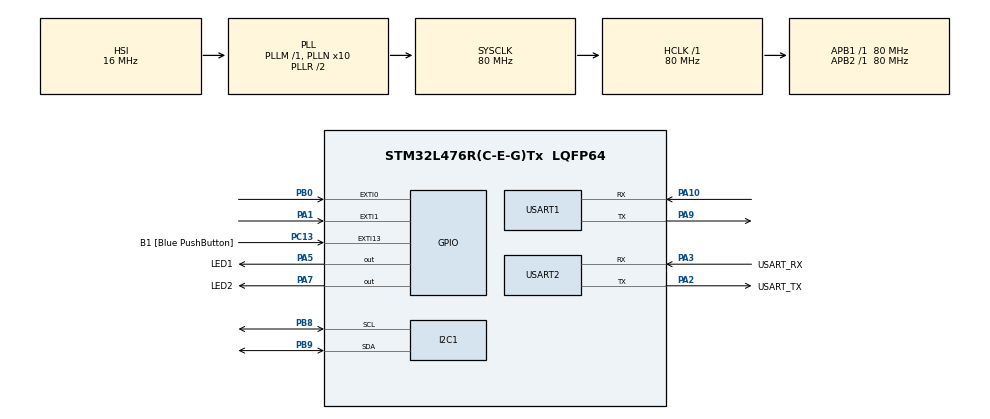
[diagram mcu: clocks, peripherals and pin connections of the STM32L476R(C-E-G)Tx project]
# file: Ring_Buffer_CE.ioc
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I2C1.Timing=0x10909CEC
Mcu.Family=STM32L4
Mcu.Name=STM32L476R(C-E-G)Tx
Mcu.Package=LQFP64
NVIC.EXTI0_IRQn=true\:0\:0\:false\:false\:true\:true\:true\:true
NVIC.EXTI1_IRQn=true\:0\:0\:false\:false\:true\:true\:true\:true
NVIC.PriorityGroup=NVIC_PRIORITYGROUP_4
NVIC.USART1_IRQn=true\:0\:0\:false\:false\:true\:true\:true\:true
NVIC.USART2_IRQn=true\:0\:0\:false\:false\:true\:true\:true\:true
PA1.Signal=GPXTI1
PA10.Mode=Asynchronous
PA10.Signal=USART1_RX
PA13\ (JTMS-SWDIO).GPIO_Label=TMS
PA13\ (JTMS-SWDIO).Mode=Serial_Wire
PA13\ (JTMS-SWDIO).Signal=SYS_JTMS-SWDIO
PA14\ (JTCK-SWCLK).GPIO_Label=TCK
PA14\ (JTCK-SWCLK).Mode=Serial_Wire
PA14\ (JTCK-SWCLK).Signal=SYS_JTCK-SWCLK
PA2.GPIO_Label=USART_TX
PA2.GPIO_Mode=GPIO_MODE_AF_PP
PA2.GPIO_PuPd=GPIO_NOPULL
PA2.GPIO_Speed=GPIO_SPEED_FREQ_VERY_HIGH
PA2.Mode=Asynchronous
PA2.Signal=USART2_TX
PA3.GPIO_Label=USART_RX
PA3.GPIO_Mode=GPIO_MODE_AF_PP
PA3.GPIO_PuPd=GPIO_NOPULL
PA3.GPIO_Speed=GPIO_SPEED_FREQ_VERY_HIGH
PA3.Mode=Asynchronous
PA3.Signal=USART2_RX
PA5.GPIO_Label=LED1
PA5.Signal=GPIO_Output
PA7.GPIO_Label=LED2
PA7.Signal=GPIO_Output
PA9.Mode=Asynchronous
PA9.Signal=USART1_TX
PB0.Signal=GPXTI0
PB3\ (JTDO-TRACESWO).GPIO_Label=SWO
PB3\ (JTDO-TRACESWO).Signal=SYS_JTDO-SWO
PB8.Mode=I2C
PB8.Signal=I2C1_SCL
PB9.Mode=I2C
PB9.Signal=I2C1_SDA
PC13.GPIO_Label=B1 [Blue PushButton]
PC13.GPIO_ModeDefaultEXTI=GPIO_MODE_IT_FALLING
PC13.GPIO_PuPd=GPIO_NOPULL
PC13.Signal=GPXTI13
PC14-OSC32_IN\ (PC14).Mode=LSE-External-Oscillator
PC14-OSC32_IN\ (PC14).Signal=RCC_OSC32_IN
PC15-OSC32_OUT\ (PC15).Mode=LSE-External-Oscillator
PC15-OSC32_OUT\ (PC15).Signal=RCC_OSC32_OUT
PH0-OSC_IN\ (PH0).Signal=RCC_OSC_IN
PH1-OSC_OUT\ (PH1).Signal=RCC_OSC_OUT
ProjectManager.HeapSize=0x200
ProjectManager.StackSize=0x400
ProjectManager.TargetToolchain=STM32CubeIDE
RCC.ADCFreq_Value=64000000
RCC.AHBFreq_Value=80000000
RCC.APB1Freq_Value=80000000
RCC.APB1TimFreq_Value=80000000
RCC.APB2Freq_Value=80000000
RCC.APB2TimFreq_Value=80000000
RCC.CortexFreq_Value=80000000
RCC.HCLKFreq_Value=80000000
RCC.HSE_VALUE=8000000
RCC.HSI_VALUE=16000000
RCC.MSI_VALUE=4000000
RCC.PLLN=10
RCC.PLLSourceVirtual=RCC_PLLSOURCE_HSI
RCC.PREFETCH_ENABLE=1
RCC.SYSCLKFreq_VALUE=80000000
RCC.SYSCLKSource=RCC_SYSCLKSOURCE_PLLCLK
RCC.USBFreq_Value=64000000
RCC.VCOOutputFreq_Value=160000000
USART1.VirtualMode-Asynchronous=VM_ASYNC
USART2.VirtualMode-Asynchronous=VM_ASYNC
board=NUCLEO-L476RG

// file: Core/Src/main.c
/* USER CODE BEGIN Header */
/**
  ******************************************************************************
  * @file           : main.c
  * @brief          : Main program body
  ******************************************************************************
  * @attention
  *
  * Copyright (c) 2024 STMicroelectronics.
  * All rights reserved.
  *
  * This software is licensed under terms that can be found in the LICENSE file
  * in the root directory of this software component.
  * If no LICENSE file comes with this software, it is provided AS-IS.
  *
  ******************************************************************************
  */
/* USER CODE END Header */
#include "main.h"

/* USER CODE BEGIN Includes */
#include "ring_buffer.h"
#include "ssd1306.h"
#include "ssd1306_fonts.h"
/* USER CODE END Includes */

I2C_HandleTypeDef hi2c1;
UART_HandleTypeDef huart1;
UART_HandleTypeDef huart2;

/* USER CODE BEGIN PV */
// Variables to setting number of blinks
volatile uint32_t left_toggles = 0;
volatile uint32_t right_toggles = 0;
// Variable to call the function
volatile uint32_t turn_left = 0;
volatile uint32_t turn_right = 0;

uint8_t data;
#define CAPACITY_USART1 10
uint8_t mem_usart1[CAPACITY_USART1];
ring_buffer_t rb_usart1;

#define CAPACITY_USART2 10
uint8_t mem_usart2[CAPACITY_USART2];
ring_buffer_t rb_usart2;

//#define DOC "1080691539" //Variable of the ID
//#define DOC_LEN 10 //Size of ID
//#define NAME "Gabriela Romo" //Variable of name

//char id[DOC_LEN+1]={0};
//uint8_t id_index = 0; //Will contain the content that i write in YAT
/* USER CODE END PV */

void SystemClock_Config(void);
static void MX_GPIO_Init(void);
static void MX_USART2_UART_Init(void);
static void MX_USART1_UART_Init(void);
static void MX_I2C1_Init(void);

/* USER CODE BEGIN 0 */

void HAL_UART_RxCpltCallback(UART_HandleTypeDef *huart)
{
	  if (huart->Instance == USART1) {
		  ring_buffer_write(&rb_usart1, data);
		  HAL_UART_Receive_IT(&huart1, &data, 1);
	  }
	if(huart -> Instance == USART2){
		  ring_buffer_write(&rb_usart2, data); // put the data received in buffer
		  HAL_UART_Receive_IT(&huart2, &data, 1); // enable interrupt to continue receiving
	}

}

/* USER CODE END 0 */

int main(void)
{

  /* MCU Configuration--------------------------------------------------------*/

  /* Reset of all peripherals, Initializes the Flash interface and the Systick. */
  HAL_Init();

  /* Configure the system clock */
  SystemClock_Config();

  /* Initialize all configured peripherals */
  MX_GPIO_Init();
  MX_USART2_UART_Init();
  MX_USART1_UART_Init();
  MX_I2C1_Init();
  /* USER CODE BEGIN 2 */
  /* Initialize ring buffer (control, memory, and capacity) */
  ring_buffer_init(&rb_usart1, mem_usart1, CAPACITY_USART1);
  ring_buffer_init(&rb_usart2, mem_usart2, CAPACITY_USART2);
  ssd1306_Init();
  ssd1306_Fill(Black);
  ssd1306_SetCursor(10,20);
  ssd1306_WriteString("Hi!", Font_6x8, White);
  ssd1306_UpdateScreen();
  /* USER CODE END 2 */

  /* Infinite loop */
  /* USER CODE BEGIN WHILE */
  HAL_UART_Receive_IT(&huart1,&data,1);
  HAL_UART_Receive_IT(&huart2,&data,1);
  while (1)
  {
    /* USER CODE END WHILE */

    /* USER CODE BEGIN 3 */
	//  uint8_t byte=0;
	//  if (ring_buffer_read(&byte) != 0){ //0x20
		 // HAL_UART_Transmit(&huart2,&byte,1,10);

	/*	 TAREA ID+NAME
	    id[id_index++] = byte;
//        For print the name after read the ID
		  if (id_index == DOC_LEN ) {
		      HAL_UART_Transmit(&huart2, (uint8_t*)NAME, strlen(NAME), 100);
		      HAL_UART_Transmit(&huart2, (uint8_t*)"\r\n", 2, 100);
		      ssd1306_WriteString("Gabriela Romo",Font_6x8,White);
		      ssd1306_UpdateScreen();
		      // Reset for next input
		      id_index = 0;
		  }
	  }*/
	  uint8_t byte = 0;
	  if (ring_buffer_read(&rb_usart2, &byte) != 0) {
	  if (ring_buffer_is_full(&rb_usart2) != 0) {
		  uint8_t id_incorrect = 0;
		  char my_id[] = "1080691539";
		  for (uint8_t idx = 0; idx < sizeof(my_id); idx++) {
			  if (ring_buffer_read(&rb_usart2, &byte) != 0) { // 0x20
				  if (byte != my_id[idx]) {
					  id_incorrect = 1;
				  }
			  }
		  }
		  if (id_incorrect == 0) {
		      HAL_UART_Transmit(&huart1, (uint8_t *)"Gabriela Romo\r\n", 15, 100);
		      ssd1306_WriteString("Gabriela Romo", Font_6x8, White);
		      ssd1306_UpdateScreen();
		  } else {
		      HAL_UART_Transmit(&huart1, (uint8_t *)"Error\r\n", 7, 10);
		      ssd1306_WriteString("Error", Font_6x8, White);
		      ssd1306_UpdateScreen();
		  }
	  }
	  }

  }
  /* USER CODE END 3 */
}

void SystemClock_Config(void)
{
  RCC_OscInitTypeDef RCC_OscInitStruct = {0};
  RCC_ClkInitTypeDef RCC_ClkInitStruct = {0};

  /** Configure the main internal regulator output voltage
  */
  if (HAL_PWREx_ControlVoltageScaling(PWR_REGULATOR_VOLTAGE_SCALE1) != HAL_OK)
  {
    Error_Handler();
  }

  /** Initializes the RCC Oscillators according to the specified parameters
  * in the RCC_OscInitTypeDef structure.
  */
  RCC_OscInitStruct.OscillatorType = RCC_OSCILLATORTYPE_HSI;
  RCC_OscInitStruct.HSIState = RCC_HSI_ON;
  RCC_OscInitStruct.HSICalibrationValue = RCC_HSICALIBRATION_DEFAULT;
  RCC_OscInitStruct.PLL.PLLState = RCC_PLL_ON;
  RCC_OscInitStruct.PLL.PLLSource = RCC_PLLSOURCE_HSI;
  RCC_OscInitStruct.PLL.PLLM = 1;
  RCC_OscInitStruct.PLL.PLLN = 10;
  RCC_OscInitStruct.PLL.PLLP = RCC_PLLP_DIV7;
  RCC_OscInitStruct.PLL.PLLQ = RCC_PLLQ_DIV2;
  RCC_OscInitStruct.PLL.PLLR = RCC_PLLR_DIV2;
  if (HAL_RCC_OscConfig(&RCC_OscInitStruct) != HAL_OK)
  {
    Error_Handler();
  }

  /** Initializes the CPU, AHB and APB buses clocks
  */
  RCC_ClkInitStruct.ClockType = RCC_CLOCKTYPE_HCLK|RCC_CLOCKTYPE_SYSCLK
                              |RCC_CLOCKTYPE_PCLK1|RCC_CLOCKTYPE_PCLK2;
  RCC_ClkInitStruct.SYSCLKSource = RCC_SYSCLKSOURCE_PLLCLK;
  RCC_ClkInitStruct.AHBCLKDivider = RCC_SYSCLK_DIV1;
  RCC_ClkInitStruct.APB1CLKDivider = RCC_HCLK_DIV1;
  RCC_ClkInitStruct.APB2CLKDivider = RCC_HCLK_DIV1;

  if (HAL_RCC_ClockConfig(&RCC_ClkInitStruct, FLASH_LATENCY_4) != HAL_OK)
  {
    Error_Handler();
  }
}

static void MX_I2C1_Init(void)
{

  hi2c1.Instance = I2C1;
  hi2c1.Init.Timing = 0x10909CEC;
  hi2c1.Init.OwnAddress1 = 0;
  hi2c1.Init.AddressingMode = I2C_ADDRESSINGMODE_7BIT;
  hi2c1.Init.DualAddressMode = I2C_DUALADDRESS_DISABLE;
  hi2c1.Init.OwnAddress2 = 0;
  hi2c1.Init.OwnAddress2Masks = I2C_OA2_NOMASK;
  hi2c1.Init.GeneralCallMode = I2C_GENERALCALL_DISABLE;
  hi2c1.Init.NoStretchMode = I2C_NOSTRETCH_DISABLE;
  if (HAL_I2C_Init(&hi2c1) != HAL_OK)
  {
    Error_Handler();
  }

  /** Configure Analogue filter
  */
  if (HAL_I2CEx_ConfigAnalogFilter(&hi2c1, I2C_ANALOGFILTER_ENABLE) != HAL_OK)
  {
    Error_Handler();
  }

  /** Configure Digital filter
  */
  if (HAL_I2CEx_ConfigDigitalFilter(&hi2c1, 0) != HAL_OK)
  {
    Error_Handler();
  }

}

static void MX_USART1_UART_Init(void)
{

  huart1.Instance = USART1;
  huart1.Init.BaudRate = 115200;
  huart1.Init.WordLength = UART_WORDLENGTH_8B;
  huart1.Init.StopBits = UART_STOPBITS_1;
  huart1.Init.Parity = UART_PARITY_NONE;
  huart1.Init.Mode = UART_MODE_TX_RX;
  huart1.Init.HwFlowCtl = UART_HWCONTROL_NONE;
  huart1.Init.OverSampling = UART_OVERSAMPLING_16;
  huart1.Init.OneBitSampling = UART_ONE_BIT_SAMPLE_DISABLE;
  huart1.AdvancedInit.AdvFeatureInit = UART_ADVFEATURE_NO_INIT;
  if (HAL_UART_Init(&huart1) != HAL_OK)
  {
    Error_Handler();
  }

}

static void MX_USART2_UART_Init(void)
{

  huart2.Instance = USART2;
  huart2.Init.BaudRate = 115200;
  huart2.Init.WordLength = UART_WORDLENGTH_8B;
  huart2.Init.StopBits = UART_STOPBITS_1;
  huart2.Init.Parity = UART_PARITY_NONE;
  huart2.Init.Mode = UART_MODE_TX_RX;
  huart2.Init.HwFlowCtl = UART_HWCONTROL_NONE;
  huart2.Init.OverSampling = UART_OVERSAMPLING_16;
  huart2.Init.OneBitSampling = UART_ONE_BIT_SAMPLE_DISABLE;
  huart2.AdvancedInit.AdvFeatureInit = UART_ADVFEATURE_NO_INIT;
  if (HAL_UART_Init(&huart2) != HAL_OK)
  {
    Error_Handler();
  }

}

static void MX_GPIO_Init(void)
{
  GPIO_InitTypeDef GPIO_InitStruct = {0};

  /* GPIO Ports Clock Enable */
  __HAL_RCC_GPIOC_CLK_ENABLE();
  __HAL_RCC_GPIOH_CLK_ENABLE();
  __HAL_RCC_GPIOA_CLK_ENABLE();
  __HAL_RCC_GPIOB_CLK_ENABLE();

  /*Configure GPIO pin Output Level */
  HAL_GPIO_WritePin(GPIOA, LED1_Pin|LED2_Pin, GPIO_PIN_RESET);

  /*Configure GPIO pin : B1_Pin */
  GPIO_InitStruct.Pin = B1_Pin;
  GPIO_InitStruct.Mode = GPIO_MODE_IT_FALLING;
  GPIO_InitStruct.Pull = GPIO_NOPULL;
  HAL_GPIO_Init(B1_GPIO_Port, &GPIO_InitStruct);

  /*Configure GPIO pin : PA1 */
  GPIO_InitStruct.Pin = GPIO_PIN_1;
  GPIO_InitStruct.Mode = GPIO_MODE_IT_RISING;
  GPIO_InitStruct.Pull = GPIO_NOPULL;
  HAL_GPIO_Init(GPIOA, &GPIO_InitStruct);

  /*Configure GPIO pins : LED1_Pin LED2_Pin */
  GPIO_InitStruct.Pin = LED1_Pin|LED2_Pin;
  GPIO_InitStruct.Mode = GPIO_MODE_OUTPUT_PP;
  GPIO_InitStruct.Pull = GPIO_NOPULL;
  GPIO_InitStruct.Speed = GPIO_SPEED_FREQ_LOW;
  HAL_GPIO_Init(GPIOA, &GPIO_InitStruct);

  /*Configure GPIO pin : PB0 */
  GPIO_InitStruct.Pin = GPIO_PIN_0;
  GPIO_InitStruct.Mode = GPIO_MODE_IT_RISING;
  GPIO_InitStruct.Pull = GPIO_NOPULL;
  HAL_GPIO_Init(GPIOB, &GPIO_InitStruct);

  /* EXTI interrupt init*/
  HAL_NVIC_SetPriority(EXTI0_IRQn, 0, 0);
  HAL_NVIC_EnableIRQ(EXTI0_IRQn);

  HAL_NVIC_SetPriority(EXTI1_IRQn, 0, 0);
  HAL_NVIC_EnableIRQ(EXTI1_IRQn);

}

void Error_Handler(void)
{
  __disable_irq();
  while (1)
  {
  }
}
